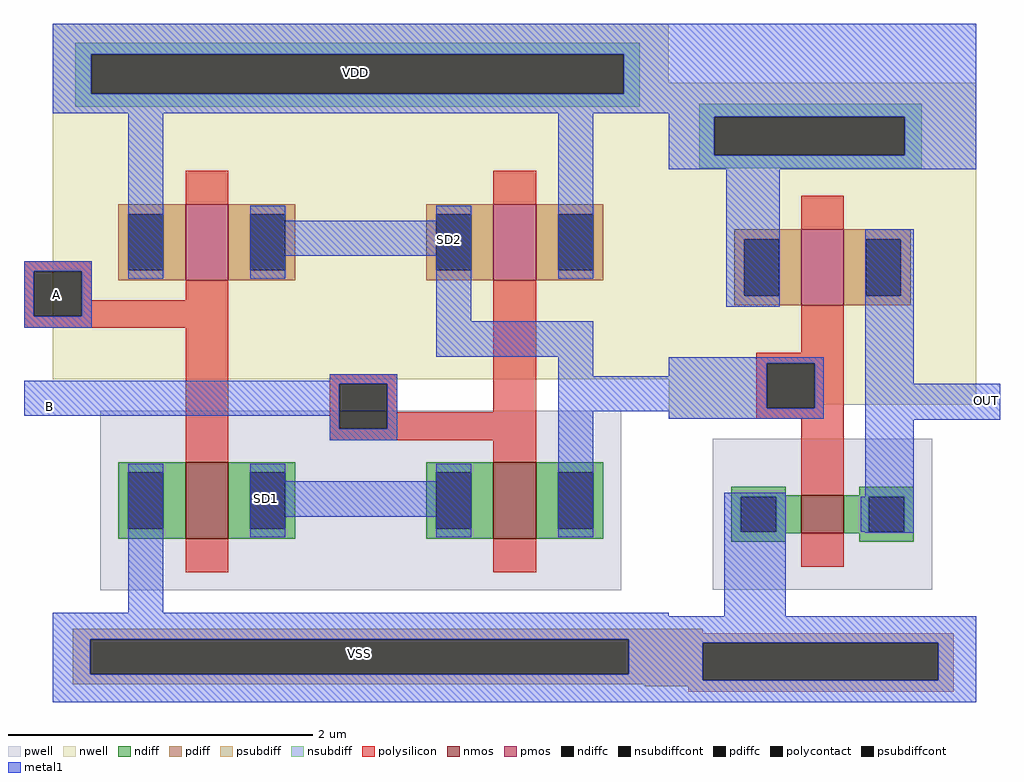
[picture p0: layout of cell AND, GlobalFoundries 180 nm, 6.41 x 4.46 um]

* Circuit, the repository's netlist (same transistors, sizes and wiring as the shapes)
* NGSPICE file created from AND.ext - technology: gf180mcuC

.subckt nmos_3p3_H9QVWA a_n120_n36# a_28_n25# a_n28_n69# VSUBS
X0 a_28_n25# a_n28_n69# a_n120_n36# VSUBS nfet_03v3 ad=0.155p pd=1.64u as=0.155p ps=1.64u w=0.25u l=0.28u
.ends

.subckt nmos_3p3_49QVWA a_n204_n36# a_56_n69# a_112_n25# a_n112_n69# a_n56_n25# VSUBS
X0 a_n56_n25# a_n112_n69# a_n204_n36# VSUBS nfet_03v3 ad=89.8f pd=0.92u as=0.155p ps=1.64u w=0.25u l=0.28u
X1 a_112_n25# a_56_n69# a_n56_n25# VSUBS nfet_03v3 ad=0.155p pd=1.64u as=89.8f ps=0.92u w=0.25u l=0.28u
.ends

.subckt pmos_3p3_M8RWPS a_n28_n94# w_n202_n180# a_n116_n50# a_28_n50#
X0 a_28_n50# a_n28_n94# a_n116_n50# w_n202_n180# pfet_03v3 ad=0.22p pd=1.88u as=0.22p ps=1.88u w=0.5u l=0.28u
.ends

.subckt AND A B OUT VDD VSS
Xnmos_3p3_H9QVWA_0 VSS OUT a_571_376# VSS nmos_3p3_H9QVWA
Xnmos_3p3_49QVWA_0 m1_41_62# B m1_41_62# B VSS VSS nmos_3p3_49QVWA
Xnmos_3p3_49QVWA_1 m1_41_62# A m1_41_62# A a_571_376# VSS nmos_3p3_49QVWA
Xpmos_3p3_M8RWPS_0 a_571_376# VDD VDD OUT pmos_3p3_M8RWPS
Xpmos_3p3_M8RWPS_1 A VDD VDD a_571_376# pmos_3p3_M8RWPS
Xpmos_3p3_M8RWPS_2 B VDD a_571_376# VDD pmos_3p3_M8RWPS
.ends

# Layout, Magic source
magic
tech gf180mcuC
magscale 1 10
<< nwell >>
rect 20 636 828 754
rect 68 355 108 391
<< pwell >>
rect 362 10 486 246
rect 493 207 653 216
<< psubdiff >>
rect 46 -54 873 -40
rect 46 -100 69 -54
rect 776 -100 873 -54
rect 46 -113 873 -100
rect 797 -116 873 -113
<< nsubdiff >>
rect 49 714 790 729
rect 49 662 70 714
rect 769 662 790 714
rect 49 645 790 662
<< psubdiffcont >>
rect 69 -100 776 -54
<< nsubdiffcont >>
rect 70 662 769 714
<< polysilicon >>
rect -18 429 71 442
rect -18 370 -5 429
rect 58 391 71 429
rect 58 386 205 391
rect 58 370 250 386
rect -18 355 250 370
rect 194 222 250 355
rect 383 281 472 294
rect 383 222 396 281
rect 459 244 472 281
rect 598 244 654 373
rect 459 222 654 244
rect 383 207 653 222
<< polycontact >>
rect -5 370 58 429
rect 396 222 459 281
<< metal1 >>
rect 20 714 1232 754
rect 20 662 70 714
rect 769 676 1232 714
rect 769 662 828 676
rect 20 636 828 662
rect -18 429 71 442
rect -18 370 -5 429
rect 58 370 71 429
rect 119 419 165 636
rect 279 495 325 515
rect 523 495 569 515
rect 279 449 569 495
rect 279 419 325 449
rect -18 355 71 370
rect 523 363 569 449
rect 683 419 729 636
rect 523 317 729 363
rect 383 285 472 294
rect -18 281 472 285
rect -18 239 396 281
rect 383 222 396 239
rect 459 222 472 281
rect 383 207 472 222
rect 683 291 729 317
rect 683 245 853 291
rect 119 -19 165 176
rect 279 153 325 176
rect 523 153 569 176
rect 279 107 569 153
rect 279 80 325 107
rect 523 80 569 107
rect 683 80 729 245
rect 1185 234 1263 281
rect 20 -54 828 -19
rect 20 -100 69 -54
rect 776 -100 828 -54
rect 20 -137 828 -100
use Inverter  Inverter_0
transform 1 0 946 0 1 77
box -118 -214 286 599
use nmos_3p3_HZS5UA  nmos_3p3_HZS5UA_0
transform 1 0 222 0 1 128
box -140 -118 140 118
use nmos_3p3_HZS5UA  nmos_3p3_HZS5UA_1
transform 1 0 626 0 1 128
box -140 -118 140 118
use pmos_3p3_M8RWPS  pmos_3p3_M8RWPS_0
transform 1 0 626 0 1 467
box -202 -180 202 180
use pmos_3p3_M8RWPS  pmos_3p3_M8RWPS_1
transform 1 0 222 0 1 467
box -202 -180 202 180
<< labels >>
flabel nsubdiffcont 417 690 417 690 0 FreeSans 480 0 0 0 VDD
port 0 nsew
flabel psubdiffcont 422 -73 422 -73 0 FreeSans 480 0 0 0 VSS
port 1 nsew
flabel metal1 1245 259 1245 259 0 FreeSans 480 0 0 0 OUT
port 2 nsew
flabel polycontact 25 398 25 398 0 FreeSans 480 0 0 0 A
port 3 nsew
flabel metal1 15 252 15 252 0 FreeSans 480 0 0 0 B
port 4 nsew
flabel metal1 300 130 300 130 0 FreeSans 480 0 0 0 SD1
port 5 nsew
flabel metal1 540 470 540 470 0 FreeSans 480 0 0 0 SD2
port 6 nsew
<< end >>

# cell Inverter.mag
magic
tech gf180mcuC
magscale 1 10
<< nwell >>
rect -118 486 286 599
rect -42 305 28 486
rect 1 239 86 245
rect -118 158 86 239
<< psubdiff >>
rect -92 -136 256 -123
rect -92 -185 -73 -136
rect 236 -185 256 -136
rect -92 -200 256 -185
<< nsubdiff >>
rect -78 555 214 572
rect -78 504 -58 555
rect 192 504 214 555
rect -78 487 214 504
<< psubdiffcont >>
rect -73 -185 236 -136
<< nsubdiffcont >>
rect -58 504 192 555
<< polysilicon >>
rect 56 245 112 263
rect -3 231 112 245
rect -3 172 11 231
rect 74 172 112 231
rect -3 158 112 172
rect 56 102 112 158
<< polycontact >>
rect 11 172 74 231
<< metal1 >>
rect -118 555 286 599
rect -118 504 -58 555
rect 192 504 286 555
rect -118 486 286 504
rect -42 305 28 486
rect -118 231 86 239
rect -118 172 11 231
rect 74 172 86 231
rect -118 158 86 172
rect 140 204 204 407
rect 140 157 286 204
rect -45 -101 36 61
rect 140 9 204 157
rect -118 -136 286 -101
rect -118 -185 -73 -136
rect 236 -185 286 -136
rect -118 -214 286 -185
use nmos_3p3_H9QVWA  nmos_3p3_H9QVWA_0
transform 1 0 84 0 1 33
box -144 -99 144 99
use pmos_3p3_M8RWPS  pmos_3p3_M8RWPS_0 ~/GF180Projects/GF_INV/Magic
transform 1 0 84 0 1 357
box -202 -180 202 180
<< labels >>
flabel nsubdiffcont 67 530 67 530 0 FreeSans 640 0 0 0 VDD
port 1 nsew
flabel psubdiffcont 81 -162 81 -162 0 FreeSans 640 0 0 0 VSS
port 2 nsew
flabel metal1 -95 199 -95 199 0 FreeSans 640 0 0 0 IN
port 3 nsew
flabel metal1 272 172 272 172 0 FreeSans 640 0 0 0 OUT
port 5 nsew
<< end >>

# cell nmos_3p3_HZS5UA: kit device nmos_3p3, w 0.50 l 0.280 m 1 nf 1 diffcov 100 polycov 100 guard 0 glc 0 grc 0 gtc 0 gbc 0 tbcov 100 rlcov 100 topc 0 botc 0 poverlap 0 doverlap 1 lmin 0.28 wmin 0.22 full_metal 0 compatible {nmos_3p3 nmos_6p0 nmos_6p0_nat}

# cell pmos_3p3_M8RWPS: kit device pmos_3p3, w 0.50 l 0.280 m 1 nf 1 diffcov 100 polycov 100 guard 0 glc 0 grc 0 gtc 0 gbc 0 tbcov 100 rlcov 100 topc 0 botc 0 poverlap 0 doverlap 1 lmin 0.28 wmin 0.22 full_metal 0 compatible {pmos_3p3 pmos_6p0}

# cell nmos_3p3_H9QVWA: kit device nmos_3p3, w 0.250 l 0.280 m 1 nf 1 diffcov 100 polycov 100 guard 0 glc 0 grc 0 gtc 0 gbc 0 tbcov 100 rlcov 100 topc 0 botc 0 poverlap 0 doverlap 1 lmin 0.28 wmin 0.22 full_metal 0 compatible {nmos_3p3 nmos_6p0 nmos_6p0_nat}
